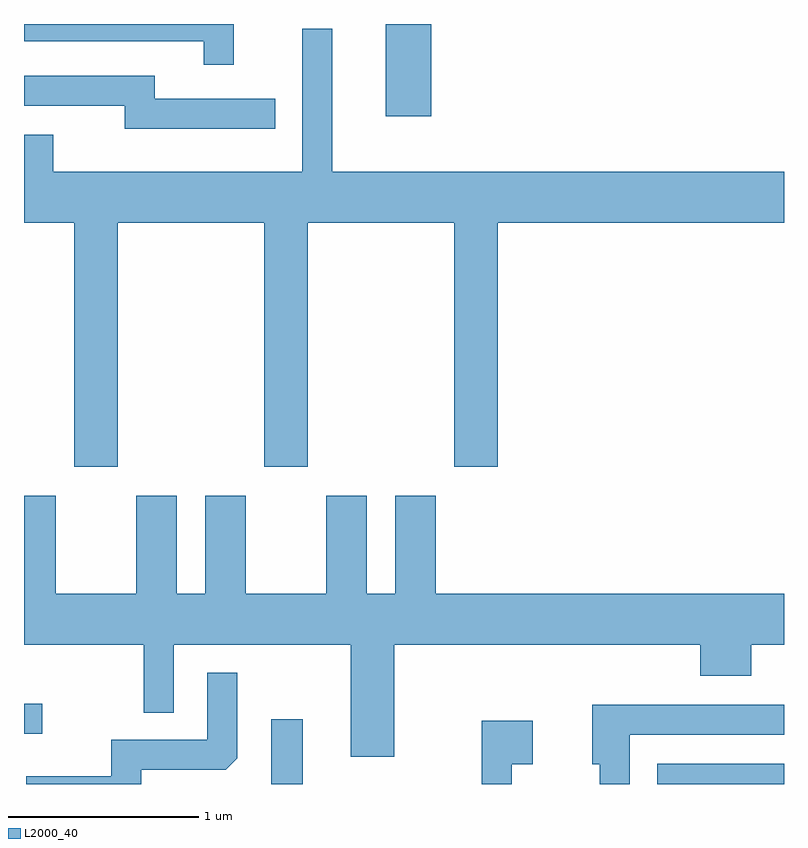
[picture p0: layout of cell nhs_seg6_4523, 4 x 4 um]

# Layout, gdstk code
import gdstk
lib = gdstk.Library(unit=1e-6, precision=1e-09)
def R(c, l, rs):  # rectangles x0, y0, x1, y1
    for r in rs: c.add(gdstk.rectangle(r[:2], r[2:], *l))
def P(c, l, *ps):  # polygons
    for p in ps: c.add(gdstk.Polygon(p, *l))
L2000_40 = (2000, 40)

nhs_seg6_4523 = lib.new_cell('nhs_seg6_4523')
R(nhs_seg6_4523, L2000_40, [(324.911,1578.162,325.079,1578.503), (326.943,1578.162,327.611,1578.269), (323.611,1578.426,323.708,1578.584), (325.516,1581.676,325.754,1582.162)])
P(nhs_seg6_4523, L2000_40, [(324.714,1582.162),(323.611,1582.162),(323.611,1582.071),(324.556,1582.071),(324.556,1581.948),(324.714,1581.948)],
  [(324.104,1581.116),(324.876,1581.116),(324.876,1579.831),(325.104,1579.831),(325.104,1581.116),(325.876,1581.116),(325.876,1579.831),(326.104,1579.831),(326.104,1581.116),(327.611,1581.116),(327.611,1581.384),(325.234,1581.384),(325.234,1582.138),(325.076,1582.138),(325.076,1581.384),(323.764,1581.384),(323.764,1581.579),(323.611,1581.579),(323.611,1581.116),(323.876,1581.116),(323.876,1579.831),(324.104,1579.831)],
  [(324.933,1581.769),(324.299,1581.769),(324.299,1581.889),(323.611,1581.889),(323.611,1581.731),(324.141,1581.731),(324.141,1581.611),(324.933,1581.611)],
  [(325.559,1578.896),(327.171,1578.896),(327.171,1578.731),(327.439,1578.731),(327.439,1578.896),(327.611,1578.896),(327.611,1579.164),(325.779,1579.164),(325.779,1579.679),(325.566,1579.679),(325.566,1579.164),(325.414,1579.164),(325.414,1579.679),(325.201,1579.679),(325.201,1579.164),(324.779,1579.164),(324.779,1579.679),(324.566,1579.679),(324.566,1579.164),(324.414,1579.164),(324.414,1579.679),(324.201,1579.679),(324.201,1579.164),(323.779,1579.164),(323.779,1579.679),(323.611,1579.679),(323.611,1578.896),(324.241,1578.896),(324.241,1578.538),(324.399,1578.538),(324.399,1578.896),(325.331,1578.896),(325.331,1578.306),(325.559,1578.306)],
  [(324.229,1578.236),(324.674,1578.236),(324.734,1578.297),(324.734,1578.748),(324.576,1578.748),(324.576,1578.394),(324.071,1578.394),(324.071,1578.204),(323.623,1578.204),(323.623,1578.162),(324.229,1578.162)],
  [(326.799,1578.421),(327.611,1578.421),(327.611,1578.579),(326.601,1578.579),(326.601,1578.266),(326.641,1578.266),(326.641,1578.162),(326.799,1578.162)],
  [(326.179,1578.266),(326.289,1578.266),(326.289,1578.494),(326.021,1578.494),(326.021,1578.162),(326.179,1578.162)])

lib.write_gds('nhs_seg6_4523.gds')
